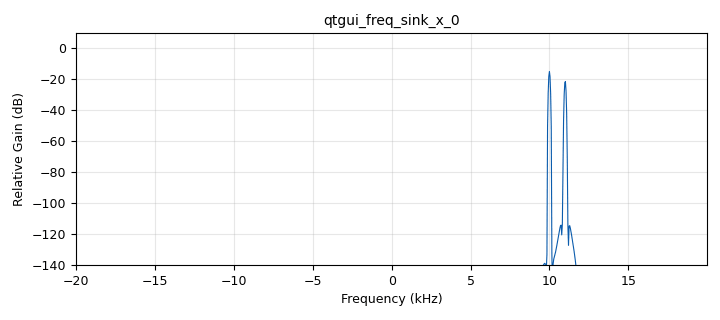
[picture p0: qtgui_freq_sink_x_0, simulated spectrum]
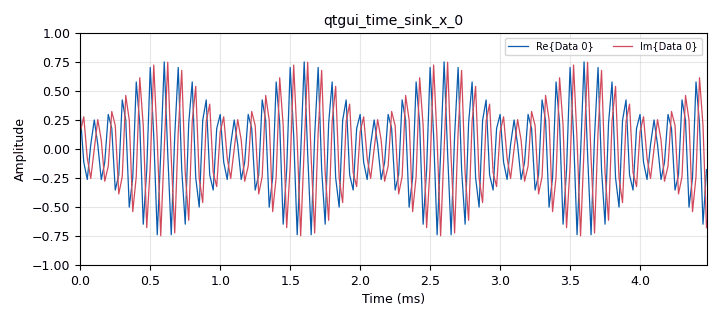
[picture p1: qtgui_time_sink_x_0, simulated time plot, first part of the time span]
options:
  parameters:
    generate_options: qt_gui
    id: PlutoAMTransmit
    output_language: python
    title: Not titled yet
  states: {}

blocks:
- name: samp_rate
  id: variable
  parameters:
    value: '32000'
  states: {}
- name: analog_const_source_x_0
  id: analog_const_source_x
  parameters:
    alias: DC Shift
    const: '1'
    type: complex
  states: {}
- name: analog_const_source_x_0_0
  id: analog_const_source_x
  parameters:
    const: '0.5'
    type: complex
  states: {}
- name: analog_sig_source_x_0
  id: analog_sig_source_x
  parameters:
    amp: '1'
    freq: '1000'
    offset: '0'
    phase: '0'
    samp_rate: '40000'
    type: complex
    waveform: analog.GR_COS_WAVE
  states: {}
- name: analog_sig_source_x_0_0
  id: analog_sig_source_x
  parameters:
    amp: '1'
    freq: '10000'
    offset: '0'
    phase: '0'
    samp_rate: '40000'
    type: complex
    waveform: analog.GR_COS_WAVE
  states: {}
- name: blocks_add_xx_0
  id: blocks_add_xx
  parameters:
    type: complex
  states: {}
- name: blocks_multiply_const_vxx_0
  id: blocks_multiply_const_vxx
  parameters:
    alias: Modulation Index
    const: '0.5'
    type: complex
  states: {}
- name: blocks_multiply_xx_0
  id: blocks_multiply_xx
  parameters:
    type: complex
  states: {}
- name: blocks_multiply_xx_0_0
  id: blocks_multiply_xx
  parameters:
    type: complex
  states: {}
- name: qtgui_freq_sink_x_0
  id: qtgui_freq_sink_x
  parameters:
    bw: '40000'
    fc: '0'
    fftsize: '1024'
    type: complex
  states: {}
- name: qtgui_time_sink_x_0
  id: qtgui_time_sink_x
  parameters:
    size: '1024'
    srate: '40000'
    type: complex
  states: {}

connections:
- [analog_const_source_x_0, '0', blocks_add_xx_0, '1']
- [analog_const_source_x_0_0, '0', blocks_multiply_xx_0, '0']
- [analog_sig_source_x_0, '0', blocks_multiply_const_vxx_0, '0']
- [analog_sig_source_x_0_0, '0', blocks_multiply_xx_0_0, '1']
- [blocks_add_xx_0, '0', blocks_multiply_xx_0, '1']
- [blocks_multiply_const_vxx_0, '0', blocks_add_xx_0, '0']
- [blocks_multiply_xx_0, '0', blocks_multiply_xx_0_0, '0']
- [blocks_multiply_xx_0_0, '0', qtgui_freq_sink_x_0, '0']
- [blocks_multiply_xx_0_0, '0', qtgui_time_sink_x_0, '0']

metadata:
  file_format: 1
  grc_version: 3.10.7.0
